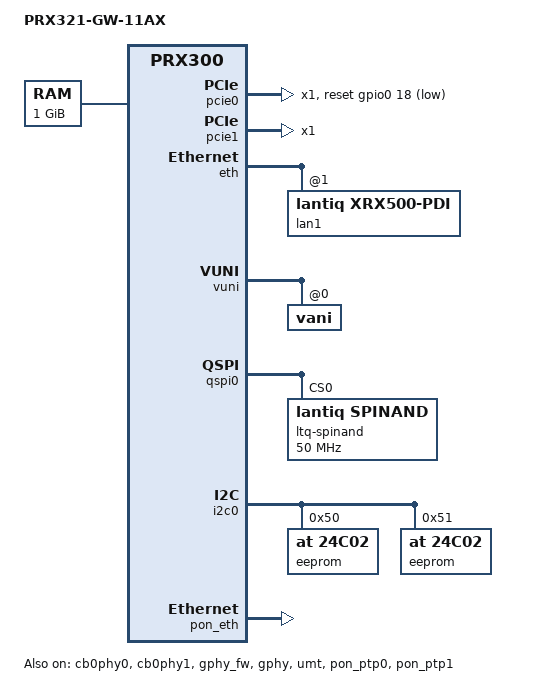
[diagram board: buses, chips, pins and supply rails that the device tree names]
/dts-v1/;
#include <dt-bindings/interrupt-controller/mips-gic.h>
#include <dt-bindings/gpio/gpio.h>
#include "prx300.dtsi"

/* Model configuration */
/ {
	model = "PRX321-GW-11AX";
	compatible = "intel,prx321-gw-11ax", "intel,prx300";

	chosen {
		stdout-path = "serial0";
	};

	memory@0 {
		device_type = "memory";
		reg = <0x20000000 0x40000000>; /* 1024 MB */
	};
};

/******************************************************************************
 ** Board configuration: Enable PCIe board configuration.
 ** PCIE sub-system feature configuration, the pcie0/1 are defined in Soc level
 ******************************************************************************/
&cb0phy0 {
	intel,mode = <0>; /*0-pcie, 1-xpcs*/
	status = "okay";
};

&cb0phy1 {
	intel,mode = <0>; /*0-pcie, 1-xpcs*/
	status = "okay";
};

&pcie0 {
	status = "okay";
	intel,rst-interval = <200>;
	intel,inbound-swap = <1>;
	intel,outbound-swap = <0>;
	reset-gpios = <&gpio0 18 GPIO_ACTIVE_LOW>;
	num-lanes = <1>;
};

&pcie1 {
	status = "okay";
	intel,rst-interval = <200>;
	intel,inbound-swap = <1>;
	intel,outbound-swap = <0>;
	resets = <&rcu0 0x10 23>, <&rcu0 0x10 0>;
	reset-names = "core", "rcu_rst";
	num-lanes = <1>;
};

/******************************************************************************
 ** Board configuration: Enable Shift register LED board configuration.
 ******************************************************************************/
&ssogpio {
	status = "disabled";

};

&ssoled {
	status = "disabled";

	/* led definition */
	intel,sso-def-brightness = <0>; /* default off */
	intel,sso-def-blinkrate = <4>; /* HZ*/
	 /* blink rate list: 2, 4, 8, 10, 50K, 100K, 200K, 250K, 1000K */
};

/******************************************************************************
 ** Board configuration: Configure LAN/WAN interfaces
 ******************************************************************************/
&eth {
	status = "okay";

	lan1: interface@1 {
		compatible = "lantiq,xrx500-pdi";
		#address-cells = <1>;
		#size-cells = <0>;
		reg = <1>;
		intel,dp-dev-port = <4>;
		intel,dp-port-id = <4>;
		mac = <&gsw_mac2>;

		lan1_eth: ethernet@1 {
			compatible = "lantiq,xrx500-pdi-port";
			reg = <2>;
			phy-mode = "rgmii";
			phy-handle = <&gphy>;
		};
	};
};

&vuni {
	status = "okay";
	vani@0 {
		intel,extra-subif = <0>;
	};
};

&cqm {
	/* Total Number of Buffers in pool0 */
	intel,bm-buff-num = <0xaf40>;
	/* Size of each buffer in pool0 */
	intel,bm-buff-size = <0x1000>;
};

&pinctrl_qspi {
	intel,slew-rate = <1>;
	intel,drive-current = <3>;
};

&qspi0 {
	status = "okay";
	ltq-spinand@0 {
		status = "okay";
		#address-cells = <1>;
		#size-cells = <1>;
		compatible = "lantiq,spinand";
		reg = <0 1>;
		linux,mtd-name = "nand.0";
		spi-max-frequency = <50000000>;
		page-size = <2048>;
		block-size = <17>; // 2^17, 128KB
		spi-tx-bus-width = <4>;
		spi-rx-bus-width = <4>;

		/* Read-delay is needed for higher freq.
		 * 2 ref_clk is chosen as value that works well upto
		 * spi-freq 50MHz (with ref_clk 100MHz).
		 */
		read-delay = <2>;
		tshsl-ns = <200>;
		tsd2d-ns = <255>;
		tchsh-ns = <20>;
		tslch-ns = <20>;
	};
};

&gphy_fw {
	status = "okay";
};

&gphy {
	status = "okay";
};

&umt {
	status = "okay";
};

&watchdog {
	/* individual reset controls that need to
	 * explicitly asserted during reset
	 */
	resets = <&rcu0 0x10 29>;
	reset-names = "gphy";
};

&wan_xpcs_phy {
	status = "disabled";
};

&i2c0 {
	status = "okay";

	/* EEPROM of the optical WAN transceiver */
	eeprom@50 {
		compatible = "at,24c02";
		reg = <0x50>;
	};
	eeprom@51 {
		compatible = "at,24c02";
		reg = <0x51>;
	};
};

&pon_eth {
	status = "okay";
};

&pon_ptp0 {
	status = "okay";
};

&pon_ptp1 {
	status = "okay";
};

&ponmbox1 {
	status = "okay";
};
